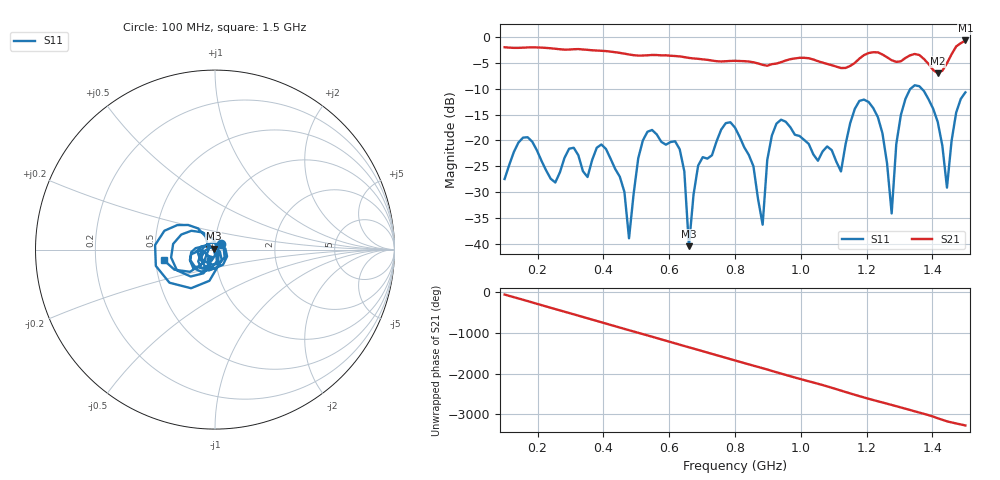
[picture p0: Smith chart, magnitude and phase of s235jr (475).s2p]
! NanoVNA-App
! Date: 2025-09-25 15:07:51
! Start: 100MHz Stop: 1,5GHz Points: 101
! S-Parameter data: F S11 S21 S12 S22
# Hz S RI R 50
!  Frequency  S11_Real  S11_Imag  S21_Real  S21_Imag  S12_Real  S12_Imag  S22_Real  S22_Imag
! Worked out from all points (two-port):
!   101 points, 100 MHz to 1.5 GHz, reference 50 ohm
!   highest |S21| = -0.65 dB at 1.5 GHz (marker M1); lowest = -7.0 dB at 1.416 GHz (marker M2)
!   |S21| within 3 dB of the highest: start of sweep to 615.1 MHz; 1.189 GHz to 1.255 GHz (66.76 MHz wide, 5.46 % of centre) (the widest 2 of 4)
!   lowest |S11| = -40.5 dB at 660 MHz (marker M3), VSWR 1.02, Z = 49.2 + j0.544 ohm
!   |S11| at or under -10 dB: start of sweep to 1.333 GHz; 1.367 GHz to end of sweep
!   S12 and S22 are empty: the file has one direction only
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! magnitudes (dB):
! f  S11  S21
! 100 MHz  -27.5  -2.0
! 156 MHz  -19.5  -2.0
! 338 MHz  -26.0  -2.4
! 408 MHz  -21.7  -2.7
! 478 MHz  -38.9  -3.4
! 520 MHz  -20.0  -3.6
! 576 MHz  -20.3  -3.5
! 632 MHz  -21.7  -3.7
! 660 MHz  -40.5  -4.0
! 688 MHz  -24.9  -4.2
! 800 MHz  -17.5  -4.6
! 884 MHz  -36.3  -5.4
! 926 MHz  -16.7  -5.1
! 1.038 GHz  -22.7  -4.3
! 1.122 GHz  -26.0  -6.0
! 1.206 GHz  -12.6  -3.1
! 1.276 GHz  -34.1  -4.5
! 1.29 GHz  -20.7  -4.8
! 1.332 GHz  -10.1  -3.5
! 1.416 GHz  -16.4  -7.0
! 1.444 GHz  -29.1  -5.1
! 1.5 GHz  -10.7  -0.6
